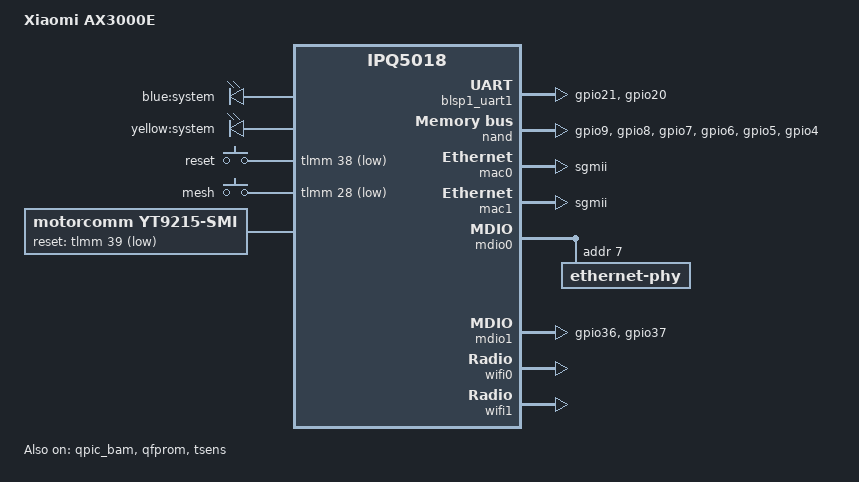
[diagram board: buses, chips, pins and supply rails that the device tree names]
// SPDX-License-Identifier: (GPL-2.0+)

/dts-v1/;

#include "ipq5018.dtsi"

/ {
	model = "Xiaomi AX3000E";
	compatible = "xiaomi,ax3000e", "qcom,ipq5018";

	#address-cells = <2>;
	#size-cells = <2>;
	interrupt-parent = <&intc>;

	aliases {
		serial0 = &blsp1_uart1;

		ethernet0 = &mac0;
		ethernet1 = &mac1;

		led-boot = &led_system_blue;
		led-failsafe = &led_system_yellow;
		led-running = &led_system_blue;
		led-upgrade = &led_system_yellow;
	};

	chosen {
		// Override the root parameter from u-boot
		bootargs-append = " root=/dev/ubiblock0_1";
		stdout-path = "serial0:115200n8";
	};

	reserved-memory {
		q6_mem_regions: q6_mem_regions@4b000000 {
			no-map;
#ifndef CONFIG_ATH11K_MEM_PROFILE_256M
			reg = <0x0 0x4b000000 0x0 0x3b00000>;
#else
			reg = <0x0 0x4b000000 0x0 0x3000000>;
#endif
		};
	};

	thermal-zones {
		status = "ok";
	};
};

&tmc_etr {
	/delete-property/ memory_region;
};

&qgic_msi_0 {
	status = "ok";
};

&qgic_msi_1 {
	status = "ok";
};

&tlmm {
	blsp_uart0_pins: blsp_uart0_pins {
            rx {
                    pins = "gpio21";
                    function = "blsp0_uart0";
                    bias-pull-up;
            };
            tx {
                    pins = "gpio20";
                    function = "blsp0_uart0";
                    drive-strength = <8>;
                    bias-disable;
            };
    };

	qspi_nand_pins: qspi_nand_pins {
		clock {
			pins = "gpio9";
			function = "qspi_clk";
			drive-strength = <8>;
			bias-disable;
		};

		cs {
			pins = "gpio8";
			function = "qspi_cs";
			drive-strength = <8>;
			bias-disable;
		};

		data0 {
			pins = "gpio7";
			function = "qspi0";
			drive-strength = <8>;
			bias-disable;
		};

		data1 {
			pins = "gpio6";
			function = "qspi1";
			drive-strength = <8>;
			bias-disable;
		};

		data2 {
			pins = "gpio5";
			function = "qspi2";
			drive-strength = <8>;
			bias-disable;
		};

		data3 {
			pins = "gpio4";
			function = "qspi3";
			drive-strength = <8>;
			bias-disable;
		};
	};

	mdio1_pins: mdio1_pins {
		mdc {
			pins = "gpio36";
			function = "mdc";
			drive-strength = <8>;
			bias-pull-up;
		};

		mdio {
			pins = "gpio37";
			function = "mdio";
			drive-strength = <8>;
			bias-pull-up;
		};
	};

	leds_pins: leds_pins {
		led_system_blue {
			pins = "gpio24";
			function = "gpio";
			drive-strength = <8>;
			bias-pull-down;
		};

		led_system_yellow {
			pins = "gpio25";
			function = "gpio";
			drive-strength = <8>;
			bias-pull-down;
		};

	};

	button_pins: button_pins {
		button_reset {
			pins = "gpio38";
			function = "gpio";
			drive-strength = <8>;
			bias-pull-up;
		};

		button_mesh {
			pins = "gpio28";
			function = "gpio";
			drive-strength = <8>;
			bias-pull-up;
		};
	};
};

&blsp1_uart1 {
	pinctrl-0 = <&blsp_uart0_pins>;
	pinctrl-names = "default";
	status = "ok";
};

&qpic_bam {
	status = "ok";
};

&nand {
	pinctrl-0 = <&qspi_nand_pins>;
	pinctrl-names = "default";
	status = "ok";
};

&qfprom {
	status = "ok";
};

&tsens {
	status = "ok";
};

&soc {
	leds {
		compatible = "gpio-leds";
		pinctrl-0 = <&leds_pins>;
		pinctrl-names = "default";

		led_system_blue: led_system_blue {
			label = "blue:system";
			gpio = <&tlmm 24 GPIO_ACTIVE_HIGH>;
			default-state = "off";
		};

		led_system_yellow: led_system_yellow {
			label = "yellow:system";
			gpio = <&tlmm 25 GPIO_ACTIVE_HIGH>;
		};
	};

	button {
		compatible = "gpio-keys";
		pinctrl-0 = <&button_pins>;
		pinctrl-names = "default";

		button_reset {
			label = "reset";
			gpios = <&tlmm 38 GPIO_ACTIVE_LOW>;
			linux,input-type = <EV_KEY>;
			linux,code = <KEY_RESTART>;
			debounce-interval = <60>;
		};

		button_mesh {
			label = "mesh";
			gpios = <&tlmm 28 GPIO_ACTIVE_LOW>;
			linux,input-type = <EV_KEY>;
			linux,code = <KEY_WPS_BUTTON>;
			debounce-interval = <60>;
		};
	};

	ess-instance {
		num_devices = <1>; // Changed from 2 to 1 (Deleted QCA chip)

		ess-switch@0x39c00000 {
			compatible = "qcom,ess-switch-ipq50xx";
			/* Both taken from stock RN07 DTS and both were MISSING here.
			 * Without reg + "local bus" access mode, ssdk cannot map the
			 * SoC ESS/UNIPHY register space, so the GMAC1<->uniphy0 data
			 * path is never configured -- the SGMII link still trains but
			 * no frame crosses it in either direction.
			 */
			reg = <0x39c00000 0x200000>;
			switch_access_mode = "local bus";
			device_id = <0>;

			/* Taken verbatim from stock RN07 DTS. Without these the UNIPHY /
			 * GMAC1 RX+TX datapath clocks are never enabled: the SerDes still
			 * trains (port 8 shows link:up 2500) but not a single frame moves
			 * in either direction. nss_port2_rx/tx_clk = GCC_GMAC1_RX/TX_CLK.
			 */
			clocks = <&gcc 40>,
				<&gcc 41>,
				<&gcc 134>,
				<&gcc 136>,
				<&gcc 71>,
				<&gcc 72>,
				<&gcc 55>,
				<&gcc 58>,
				<&gcc 60>,
				<&gcc 63>,
				<&gcc 53>,
				<&gcc 54>,
				<&gcc 135>,
				<&gcc 137>,
				<&gcc 57>,
				<&gcc 59>,
				<&gcc 62>,
				<&gcc 64>,
				<&gcc 110>,
				<&gcc 112>,
				<&gcc 56>,
				<&gcc 61>;
			clock-names = "cmn_ahb_clk",
				"cmn_sys_clk",
				"uniphy_ahb_clk",
				"uniphy_sys_clk",
				"gcc_mdio0_ahb_clk",
				"gcc_mdio1_ahb_clk",
				"gcc_gmac0_cfg_clk",
				"gcc_gmac0_sys_clk",
				"gcc_gmac1_cfg_clk",
				"gcc_gmac1_sys_clk",
				"uniphy0_port1_rx_clk",
				"uniphy0_port1_tx_clk",
				"uniphy1_port5_rx_clk",
				"uniphy1_port5_tx_clk",
				"nss_port1_rx_clk",
				"nss_port1_tx_clk",
				"nss_port2_rx_clk",
				"nss_port2_tx_clk",
				"gcc_snoc_gmac0_ahb_clk",
				"gcc_snoc_gmac1_ahb_clk",
				"gcc_gmac0_ptp_clk",
				"gcc_gmac1_ptp_clk";
			resets = <&gcc 17>,
				<&gcc 93>,
				<&gcc 22>,
				<&gcc 25>,
				<&gcc 110>,
				<&gcc 111>;
			reset-names = "gephy_bcr_rst",
				"uniphy_bcr_rst",
				"gmac0_bcr_rst",
				"gmac1_bcr_rst",
				"uniphy1_soft_rst",
				"gephy_misc_rst";

			cmnblk_clk = "internal_96MHz";

			// Set to SGMII-Plus for the Motorcomm Uplink
			switch_mac_mode = <0xc>; 

			qcom,port_phyinfo {
				// MAC0 -> GE Phy 
				port@0 {
					port_id = <1>;
					mdiobus = <&mdio0>;
					phy_address = <7>;
					phy_dac = <0x10 0x10>;
				};

				// MAC1 ---SGMII-Plus---> Motorcomm YT9215S (2.5Gbps)
				port@1 {
					port_id = <2>;
					/* stock RN07 DTS has NO port_mac_sel here */
					forced-speed = <2500>;
					forced-duplex = <1>;
				};
			};
		};
	};

	 yt9215: switch@1d {
                compatible = "motorcomm,yt9215-smi";
                mdio-bus = <&mdio1>;
                mdio-addr = <0x1d>;

                /* AX3000E-only: enables the stock-verified raw CPU-uplink
                 * (port 8) register values and the self-healing port-8
                 * monitor in yt9215.c. Other YT9215S boards (cr881x) omit
                 * this and keep the driver's original behaviour. */
                motorcomm,cpu-uplink-quirk;

                /* Derived from the stock vendor module's yt_hw_reset():
                 * gpio_request(39, "yt-hw-reset"), driven low for 100ms,
                 * then released high and left 100ms to settle, before any
                 * SMI/MDIO access happens. GPIO number and both delays are
                 * taken verbatim from the vendor driver's disassembly.
                 */
                reset-gpios = <&tlmm 39 GPIO_ACTIVE_LOW>;
                reset-assert-us = <100000>;
                reset-deassert-us = <100000>;

                ports {
                        #address-cells = <1>;
                        #size-cells = <0>;

                        port@0 { reg = <0>; };
                        port@1 { reg = <1>; };
                        port@2 { reg = <2>; };
                        port@3 { reg = <3>; };
                        port@4 { reg = <4>; };
                        port@8 {
                                reg = <8>;
                                phy-mode = "2500base-x";
                                fixed-link {
                                        speed = <2500>;
                                        full-duplex;
                                };
                        };
                };
        };


	// MAC0 -> GE Phy
	mac0: dp1 {
		compatible = "qcom,nss-dp";
		device_type = "network";
		qcom,id = <1>;

		reg = <0x39C00000 0x10000>;
		interrupts = <GIC_SPI 101 IRQ_TYPE_LEVEL_HIGH>;
		clocks = <&gcc GCC_SNOC_GMAC0_AXI_CLK>;
		clock-names = "nss-snoc-gmac-axi-clk";

		qcom,mactype = <2>; // GMAC_HAL_TYPE_SYN_GMAC
		local-mac-address = [000000000000];
		mdio-bus = <&mdio0>;
		qcom,phy-mdio-addr = <7>;
		phy-mode = "sgmii";
		qcom,link-poll = <1>;
	};

	// MAC1 ---SGMII-Plus---> Motorcomm YT9215S SerDes (2.5Gbps)
	mac1: dp2 {
		compatible = "qcom,nss-dp";
		device_type = "network";
		qcom,id = <2>;

		reg = <0x39D00000 0x10000>;
		interrupts = <GIC_SPI 109 IRQ_TYPE_LEVEL_HIGH>;
		clocks = <&gcc GCC_SNOC_GMAC1_AXI_CLK>;
		clock-names = "nss-snoc-gmac-axi-clk";

		qcom,mactype = <2>; // GMAC_HAL_TYPE_SYN_GMAC
		local-mac-address = [000000000000];
		/* Stock RN07 DTS uses "sgmii" here, NOT "2500base-x": the rate
		 * comes from ess-switch's forced-speed = <2500> on port_id=2.
		 * Setting 2500base-x deviates from stock and broke eth0 RX.
		 */
		phy-mode = "sgmii";
	};
};

&mdio0 {
	status = "ok";

	// IPQ5018 GE Phy -> QCA8337 Phy4
	ethernet-phy@0 {
		reg = <7>;
	};
};

&mdio1 {
        pinctrl-0 = <&mdio1_pins>;
        pinctrl-names = "default";
        status = "ok";
};

&qcom_q6v5_wcss {
	qcom,multipd_arch;
	memory-region = <&q6_mem_regions>;

	qcom,share_bootargs;
	qcom,bootargs_smem = <507>;
	boot-args = </*       type: */ 0x2 /* PCIE1 */
		     /*     length: */ 4
		     /*      PD id: */ 2
		     /* reset GPIO: */ 18
		     /*   reserved: */ 0 0>;

	// IPQ5018
	q6v5_wcss_userpd1 {
		qca,asid = <1>;

		interrupts-extended =
			<&wcss_smp2p_in 8 0>,
			<&wcss_smp2p_in 9 0>,
			<&wcss_smp2p_in 12 0>,
			<&wcss_smp2p_in 11 0>;
		interrupt-names =
			"fatal",
			"ready",
			"spawn_ack",
			"stop-ack";

		qcom,smem-states =
			<&wcss_smp2p_out 8>,
			<&wcss_smp2p_out 9>,
			<&wcss_smp2p_out 10>;
		qcom,smem-state-names =
			"shutdown",
			"stop",
			"spawn";

		m3_firmware = "IPQ5018/m3_fw.mdt";
		qca,auto-restart;
		qca,int_radio;
	};

	// QCN6102
	q6v5_wcss_userpd2 {
		qca,asid = <2>;

		interrupts-extended =
			<&wcss_smp2p_in 16 0>,
			<&wcss_smp2p_in 17 0>,
			<&wcss_smp2p_in 20 0>,
			<&wcss_smp2p_in 19 0>;
		interrupt-names =
			"fatal",
			"ready",
			"spawn_ack",
			"stop-ack";

		qcom,smem-states =
			<&wcss_smp2p_out 16>,
			<&wcss_smp2p_out 17>,
			<&wcss_smp2p_out 18>;
		qcom,smem-state-names =
			"shutdown",
			"stop",
			"spawn";

		m3_firmware = "qcn6122/m3_fw.mdt";
		qca,auto-restart;
	};
};

&wifi0 {
	// IPQ5000
	qcom,multipd_arch;
	qcom,userpd-subsys-name = "q6v5_wcss_userpd1";

	// Be overridden by /etc/hotplug.d/firmware/10-ath11k-board_id
	// M79: 0x10
	// M81: 0x24
	qcom,board_id = <0x24>;

	qcom,bdf-addr = <0x4c400000 0x4c400000 0x4c400000 0 0>;
#ifndef CONFIG_ATH11K_MEM_PROFILE_256M
	qcom,caldb-addr = <0x4d200000>;
	m3-dump-addr = <0x4d400000>;
#else
	qcom,caldb-addr = <0>;
	m3-dump-addr = <0>;
#endif

	status = "ok";
};

&wifi1 {
	// QCN6102
	qcom,multipd_arch;
	qcom,userpd-subsys-name = "q6v5_wcss_userpd2";

	qcom,board_id = <0x60>;

	qcom,bdf-addr = <0x4d500000 0x4d500000 0x4d100000 0 0>;
#ifndef CONFIG_ATH11K_MEM_PROFILE_256M
	qcom,caldb-addr = <0x4e500000>;
	m3-dump-addr = <0x4ea00000>;
#else
	qcom,caldb-addr = <0>;
	m3-dump-addr = <0x4df00000>;
#endif

	status = "ok";
};
